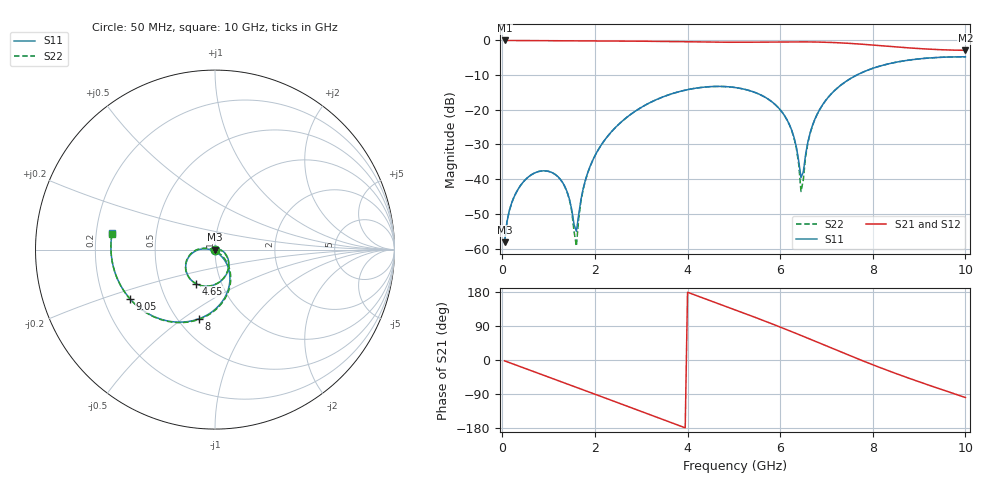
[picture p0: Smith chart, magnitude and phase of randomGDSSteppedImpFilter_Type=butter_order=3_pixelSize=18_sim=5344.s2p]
! freq	dB(S11)	phase(S11)	dB(S12)	phase(S12)
!  dB(S21)	phase(S21)	dB(S22)	phase(S22)
!S-par simulation data
#  GHz  S  DB  R 50
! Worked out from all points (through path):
!   200 points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, 50 MHz to 10 GHz, reference 50 ohm
!   highest |S21| = 0.00 dB at 50 MHz (marker M1); lowest = -2.8 dB at 10 GHz (marker M2)
!   group delay of S21, straight-line fit = 129 ps
!   lowest |S11| = -58.2 dB at 50 MHz (marker M3), VSWR 1.00, Z = 50 - j0.123 ohm
!   |S11| at or under -10 dB: start of sweep to 7.651 GHz
!   |S22| runs from -59.3 to -4.7 dB; largest |S21 - S12| = 0
!   S11 on the Smith chart (normalised r, x): 50 MHz: 1.00, -0.00; 4.65 GHz: 0.76, -0.30; 8 GHz: 0.63, -0.58; 9.05 GHz: 0.31, -0.25; 10 GHz: 0.27, +0.07
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0.05  -58.16 -87.3  -0.00 -2.3  -0.00 -2.3  -58.18 -87.3
0.15  -49.16 -92.1  -0.01 -6.8  -0.01 -6.8  -49.16 -92.0
0.3  -43.87 -101.1  -0.02 -13.6  -0.02 -13.6  -43.87 -100.8
0.9  -37.59 -133.3  -0.05 -40.6  -0.05 -40.6  -37.59 -132.2
1.35  -42.09 -160.4  -0.07 -60.8  -0.07 -60.8  -42.16 -156.2
1.5  -48.80 177.5  -0.08 -67.6  -0.08 -67.6  -49.33 -171.8
1.6  -55.03 94.0  -0.08 -72.1  -0.08 -72.1  -59.32 87.3
1.75  -42.53 25.2  -0.09 -78.9  -0.09 -78.9  -42.75 18.4
2.3  -27.21 -10.9  -0.13 -103.8  -0.13 -103.8  -27.22 -12.7
3.4  -16.65 -62.9  -0.29 -154.0  -0.29 -154.0  -16.65 -63.7
4.65  -13.25 -119.0  -0.51 149.4  -0.51 149.4  -13.26 -119.8
5.05  -13.62 -136.7  -0.52 131.3  -0.52 131.3  -13.62 -137.6
6.1  -21.78 178.8  -0.42 82.1  -0.42 82.1  -21.82 176.0
6.35  -30.74 179.0  -0.40 69.9  -0.40 69.9  -31.08 170.5
6.45  -39.57 -136.0  -0.41 64.9  -0.41 64.9  -43.56 -148.2
6.6  -29.21 -48.2  -0.42 57.4  -0.42 57.4  -29.45 -40.4
6.7  -24.43 -46.3  -0.44 52.3  -0.44 52.3  -24.51 -41.7
7.2  -14.13 -65.2  -0.63 27.0  -0.63 27.0  -14.14 -63.6
8  -8.04 -103.2  -1.32 -12.6  -1.32 -12.6  -8.04 -102.3
8.35  -6.71 -119.2  -1.70 -28.9  -1.70 -28.9  -6.71 -118.5
9.05  -5.25 -149.7  -2.39 -59.6  -2.39 -59.6  -5.25 -149.1
10  -4.72 170.9  -2.84 -99.0  -2.84 -99.0  -4.72 171.2
